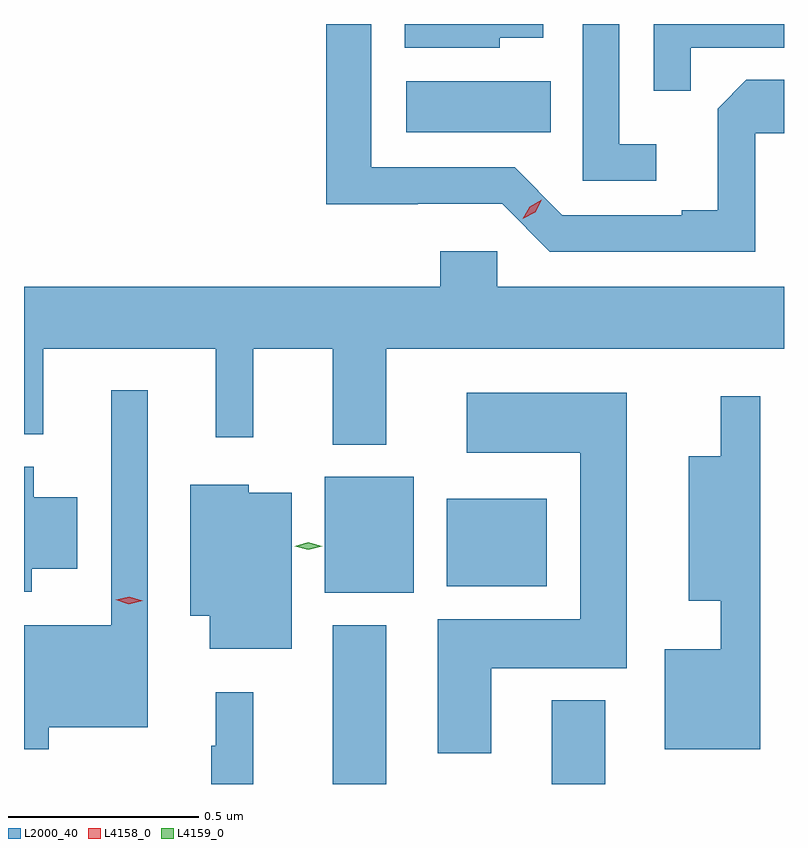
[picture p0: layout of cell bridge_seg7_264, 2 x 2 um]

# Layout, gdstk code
import gdstk
lib = gdstk.Library(unit=1e-6, precision=1e-09)
def R(c, l, rs):  # rectangles x0, y0, x1, y1
    for r in rs: c.add(gdstk.rectangle(r[:2], r[2:], *l))
def P(c, l, *ps):  # polygons
    for p in ps: c.add(gdstk.Polygon(p, *l))
L2000_40 = (2000, 40)
L4158_0 = (4158, 0)
L4159_0 = (4159, 0)

bridge_seg7_264 = lib.new_cell('bridge_seg7_264')
R(bridge_seg7_264, L2000_40, [(203.561,1071.399,203.701,1071.817), (204.137,1071.399,204.277,1071.619), (203.54,1071.902,203.773,1072.207), (203.861,1071.92,204.124,1072.15), (203.754,1073.114,204.134,1073.248)])
P(bridge_seg7_264, L2000_40, [(204.672,1073.112),(204.748,1073.112),(204.748,1073.252),(204.649,1073.252),(204.573,1073.176),(204.573,1072.909),(204.479,1072.909),(204.479,1072.896),(204.165,1072.896),(204.039,1073.022),(203.662,1073.022),(203.662,1073.399),(203.544,1073.399),(203.544,1072.925),(203.784,1072.925),(203.784,1072.926),(204.006,1072.926),(204.132,1072.8),(204.672,1072.8)],
  [(204.503,1073.337),(204.748,1073.337),(204.748,1073.399),(204.405,1073.399),(204.405,1073.224),(204.503,1073.224)],
  [(204.412,1073.083),(204.315,1073.083),(204.315,1073.399),(204.219,1073.399),(204.219,1072.986),(204.412,1072.986)],
  [(204,1073.363),(204.115,1073.363),(204.115,1073.399),(203.75,1073.399),(203.75,1073.336),(204,1073.336)],
  [(203.701,1072.544),(204.748,1072.544),(204.748,1072.708),(203.994,1072.708),(203.994,1072.801),(203.843,1072.801),(203.843,1072.708),(202.748,1072.708),(202.748,1072.319),(202.799,1072.319),(202.799,1072.544),(203.252,1072.544),(203.252,1072.311),(203.351,1072.311),(203.351,1072.544),(203.561,1072.544),(203.561,1072.292),(203.701,1072.292)],
  [(202.813,1071.548),(203.074,1071.548),(203.074,1071.813),(203.073,1071.813),(203.073,1072.435),(202.977,1072.435),(202.977,1071.817),(202.748,1071.817),(202.748,1071.491),(202.813,1071.491)],
  [(203.977,1071.704),(204.334,1071.704),(204.334,1072.429),(203.913,1072.429),(203.913,1072.271),(204.212,1072.271),(204.212,1071.832),(203.837,1071.832),(203.837,1071.48),(203.977,1071.48)],
  [(204.685,1072.42),(204.581,1072.42),(204.581,1072.261),(204.497,1072.261),(204.497,1071.881),(204.581,1071.881),(204.581,1071.754),(204.434,1071.754),(204.434,1071.491),(204.685,1071.491)],
  [(202.768,1071.965),(202.888,1071.965),(202.888,1072.153),(202.774,1072.153),(202.774,1072.234),(202.748,1072.234),(202.748,1071.905),(202.768,1071.905)],
  [(203.452,1072.165),(203.34,1072.165),(203.34,1072.186),(203.186,1072.186),(203.186,1071.842),(203.237,1071.842),(203.237,1071.755),(203.452,1071.755)],
  [(203.351,1071.64),(203.252,1071.64),(203.252,1071.5),(203.241,1071.5),(203.241,1071.399),(203.351,1071.399)])
P(bridge_seg7_264, L4158_0, [(204.061,1072.886),(204.061,1072.886),(204.079,1072.918),(204.111,1072.937),(204.111,1072.937),(204.111,1072.936),(204.093,1072.904),(204.061,1072.886)],
  [(203.024,1071.872),(202.99,1071.884),(202.989,1071.884),(202.99,1071.884),(203.025,1071.892),(203.06,1071.881),(203.06,1071.881),(203.06,1071.881)])
P(bridge_seg7_264, L4159_0, [(203.496,1072.015),(203.46,1072.025),(203.459,1072.025),(203.46,1072.025),(203.496,1072.035),(203.533,1072.025),(203.533,1072.025),(203.533,1072.025)])

lib.write_gds('bridge_seg7_264.gds')
